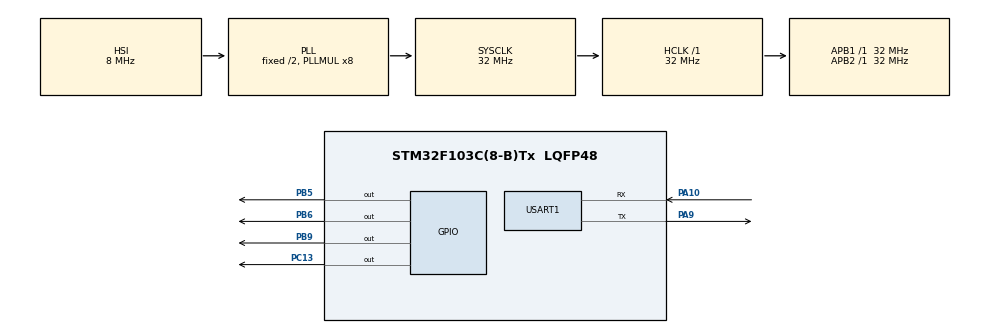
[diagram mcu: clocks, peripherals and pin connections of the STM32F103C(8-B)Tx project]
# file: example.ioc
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Mcu.Family=STM32F1
Mcu.Name=STM32F103C(8-B)Tx
Mcu.Package=LQFP48
NVIC.PriorityGroup=NVIC_PRIORITYGROUP_4
PA10.Mode=Asynchronous
PA10.Signal=USART1_RX
PA13.Mode=Serial_Wire
PA13.Signal=SYS_JTMS-SWDIO
PA14.Mode=Serial_Wire
PA14.Signal=SYS_JTCK-SWCLK
PA9.Mode=Asynchronous
PA9.Signal=USART1_TX
PB5.Signal=GPIO_Output
PB6.Signal=GPIO_Output
PB9.GPIO_PuPd=GPIO_PULLDOWN
PB9.Signal=GPIO_Output
PC13-TAMPER-RTC.Signal=GPIO_Output
PC14-OSC32_IN.Mode=LSE-External-Oscillator
PC14-OSC32_IN.Signal=RCC_OSC32_IN
PC15-OSC32_OUT.Mode=LSE-External-Oscillator
PC15-OSC32_OUT.Signal=RCC_OSC32_OUT
PD0-OSC_IN.Mode=HSE-External-Oscillator
PD0-OSC_IN.Signal=RCC_OSC_IN
PD1-OSC_OUT.Mode=HSE-External-Oscillator
PD1-OSC_OUT.Signal=RCC_OSC_OUT
ProjectManager.HeapSize=0x200
ProjectManager.StackSize=0x400
ProjectManager.TargetToolchain=CMake
RCC.AHBFreq_Value=32000000
RCC.APB1Freq_Value=32000000
RCC.APB1TimFreq_Value=32000000
RCC.APB2Freq_Value=32000000
RCC.APB2TimFreq_Value=32000000
RCC.HCLKFreq_Value=32000000
RCC.PLLMUL=RCC_PLL_MUL8
RCC.SYSCLKFreq_VALUE=32000000
RCC.SYSCLKSource=RCC_SYSCLKSOURCE_PLLCLK
RCC.USBFreq_Value=32000000
USART1.VirtualMode=VM_ASYNC
board=custom

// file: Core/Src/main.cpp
/* USER CODE BEGIN Header */
/**
  ******************************************************************************
  * @file           : main.c
  * @brief          : Main program body
  ******************************************************************************
  * @attention
  *
  * Copyright (c) 2026 STMicroelectronics.
  * All rights reserved.
  *
  * This software is licensed under terms that can be found in the LICENSE file
  * in the root directory of this software component.
  * If no LICENSE file comes with this software, it is provided AS-IS.
  *
  ******************************************************************************
  */
/* USER CODE END Header */
#include "main.h"
#include "stm32f103xb.h"
#include "stm32f1xx_hal_gpio.h"
#include "usart.h"
#include "gpio.h"
#include "modbus.hpp"
#include "zlac8015d.hpp"
/* USER CODE BEGIN Includes */
modbus mb(&huart1, GPIOB, GPIO_PIN_5, 100);
zlac8015d driver(mb);

/* USER CODE END Includes */

void SystemClock_Config(void);

int main(void)
{

  /* MCU Configuration--------------------------------------------------------*/

  /* Reset of all peripherals, Initializes the Flash interface and the Systick. */
  HAL_Init();

  /* Configure the system clock */
  SystemClock_Config();

  /* Initialize all configured peripherals */
  MX_GPIO_Init();
  MX_USART1_UART_Init();
  /* USER CODE BEGIN 2 */

  modbus::status st = driver.disable_motor(0);
  int16_t lr_ms[2] = {1000, 1000};
  int16_t rpm[2] = {19, 19};

  if(st != modbus::status::OK){
    lr_ms[0] = 0;
    lr_ms[1] = 0;
    rpm[0] = 0;
    rpm[1] = 0;
  }

  st = driver.set_accel_time(0, lr_ms);
  st = driver.set_decel_time(0, lr_ms);

  zlac8015d::opMode zst = driver.set_mode(0, 3);
  if(zst == zlac8015d::opMode::FAIL) {
    HAL_GPIO_TogglePin(GPIOC, GPIO_PIN_13);
  }

  st = driver.enable_motor(0);

  st = driver.set_rpm(0, rpm);

  /* USER CODE END 2 */

  /* Infinite loop */
  while (1)
  {

  }
}

void SystemClock_Config(void)
{
  RCC_OscInitTypeDef RCC_OscInitStruct = {0};
  RCC_ClkInitTypeDef RCC_ClkInitStruct = {0};

  /** Initializes the RCC Oscillators according to the specified parameters
  * in the RCC_OscInitTypeDef structure.
  */
  RCC_OscInitStruct.OscillatorType = RCC_OSCILLATORTYPE_HSI;
  RCC_OscInitStruct.HSIState = RCC_HSI_ON;
  RCC_OscInitStruct.HSICalibrationValue = RCC_HSICALIBRATION_DEFAULT;
  RCC_OscInitStruct.PLL.PLLState = RCC_PLL_ON;
  RCC_OscInitStruct.PLL.PLLSource = RCC_PLLSOURCE_HSI_DIV2;
  RCC_OscInitStruct.PLL.PLLMUL = RCC_PLL_MUL8;
  if (HAL_RCC_OscConfig(&RCC_OscInitStruct) != HAL_OK)
  {
    Error_Handler();
  }

  /** Initializes the CPU, AHB and APB buses clocks
  */
  RCC_ClkInitStruct.ClockType = RCC_CLOCKTYPE_HCLK|RCC_CLOCKTYPE_SYSCLK
                              |RCC_CLOCKTYPE_PCLK1|RCC_CLOCKTYPE_PCLK2;
  RCC_ClkInitStruct.SYSCLKSource = RCC_SYSCLKSOURCE_PLLCLK;
  RCC_ClkInitStruct.AHBCLKDivider = RCC_SYSCLK_DIV1;
  RCC_ClkInitStruct.APB1CLKDivider = RCC_HCLK_DIV1;
  RCC_ClkInitStruct.APB2CLKDivider = RCC_HCLK_DIV1;

  if (HAL_RCC_ClockConfig(&RCC_ClkInitStruct, FLASH_LATENCY_1) != HAL_OK)
  {
    Error_Handler();
  }
}

void Error_Handler(void)
{
  __disable_irq();
  while (1)
  {
  }
}
